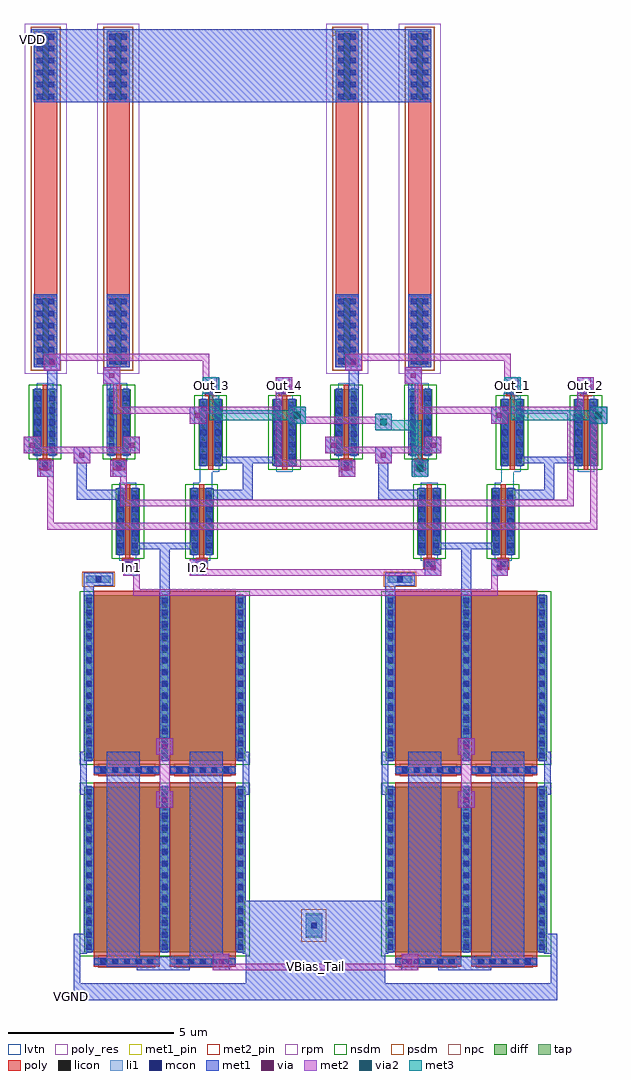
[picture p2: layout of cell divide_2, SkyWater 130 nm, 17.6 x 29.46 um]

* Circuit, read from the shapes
.subckt divide_2 In1 In2 Out_1 Out_2 Out_3 Out_4 VBias_Tail VDD VGND
XM1 Out_3 Out_1 n1 VGND sky130_fd_pr__nfet_01v8_lvt w=2 l=0.15
XM2 n2 VBias_Tail VGND VGND sky130_fd_pr__nfet_01v8 w=5 l=2 m=4
XM3 n1 Out_2 Out_4 VGND sky130_fd_pr__nfet_01v8_lvt w=2 l=0.15
XM4 n2 In1 n1 VGND sky130_fd_pr__nfet_01v8_lvt w=2 l=0.15
XM5 n3 In2 n2 VGND sky130_fd_pr__nfet_01v8_lvt w=2 l=0.15
XM6 n3 Out_3 Out_4 VGND sky130_fd_pr__nfet_01v8_lvt w=2 l=0.15
XM7 Out_3 Out_4 n3 VGND sky130_fd_pr__nfet_01v8_lvt w=2 l=0.15
XM8 Out_1 Out_4 n4 VGND sky130_fd_pr__nfet_01v8_lvt w=2 l=0.15
XM9 n5 VBias_Tail VGND VGND sky130_fd_pr__nfet_01v8 w=5 l=2 m=4
XM10 n4 Out_3 Out_2 VGND sky130_fd_pr__nfet_01v8_lvt w=2 l=0.15
XM11 n5 In2 n4 VGND sky130_fd_pr__nfet_01v8_lvt w=2 l=0.15
XM12 n6 In1 n5 VGND sky130_fd_pr__nfet_01v8_lvt w=2 l=0.15
XM13 n6 Out_1 Out_2 VGND sky130_fd_pr__nfet_01v8_lvt w=2 l=0.15
XM14 Out_1 Out_2 n6 VGND sky130_fd_pr__nfet_01v8_lvt w=2 l=0.15
XR15 VDD Out_3 VGND sky130_fd_pr__res_high_po w=0.69 l=5.88
XR16 VDD Out_4 VGND sky130_fd_pr__res_high_po w=0.69 l=5.88
XR17 VDD Out_1 VGND sky130_fd_pr__res_high_po w=0.69 l=5.88
XR18 VDD Out_2 VGND sky130_fd_pr__res_high_po w=0.69 l=5.88
.ends

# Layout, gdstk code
from math import pi, radians
import gdstk
lib = gdstk.Library(unit=1e-6, precision=1e-09)
def R(c, l, rs):  # rectangles x0, y0, x1, y1
    for r in rs: c.add(gdstk.rectangle(r[:2], r[2:], *l))
def A(c, l, x, y, w, h, nx, ny, dx, dy):  # array of equal rectangles
    R(c, l, [(x+i*dx, y+j*dy, x+i*dx+w, y+j*dy+h) for i in range(nx) for j in range(ny)])
diff = (65, 20)
tap = (65, 44)
poly_res = (66, 13)
poly = (66, 20)
licon = (66, 44)
li1 = (67, 20)
mcon = (67, 44)
met1_pin = (68, 16)
met1 = (68, 20)
via = (68, 44)
met2_pin = (69, 16)
met2 = (69, 20)
via2 = (69, 44)
met3 = (70, 20)
rpm = (86, 20)
nsdm = (93, 44)
psdm = (94, 20)
npc = (95, 20)
lvtn = (125, 44)

sky130_fd_pr__res_high_p = lib.new_cell('sky130_fd_pr__res_high_po_0p69_VZF59X')
R(sky130_fd_pr__res_high_p, poly_res, [(-0.345,-3,0.345,3)])
R(sky130_fd_pr__res_high_p, poly, [(-0.345,-5.08,0.345,5.08)])
R(sky130_fd_pr__res_high_p, licon, [(-0.095,-5,0.095,-3), (-0.095,3,0.095,5)])
R(sky130_fd_pr__res_high_p, li1, [(-0.345,-5.08,0.345,-2.92), (-0.345,2.92,0.345,5.08)])
A(sky130_fd_pr__res_high_p, mcon, -0.265, -4.985, 0.17, 0.17, 1, 6, 0, 0.36)
A(sky130_fd_pr__res_high_p, mcon, 0.095, -4.985, 0.17, 0.17, 1, 6, 0, 0.36)
A(sky130_fd_pr__res_high_p, mcon, -0.265, 3.01, 0.17, 0.17, 1, 6, 0, 0.36)
A(sky130_fd_pr__res_high_p, mcon, 0.095, 3.01, 0.17, 0.17, 1, 6, 0, 0.36)
R(sky130_fd_pr__res_high_p, met1, [(-0.295,-5.05,0.295,-2.945), (-0.295,2.945,0.295,5.05)])
R(sky130_fd_pr__res_high_p, rpm, [(-0.635,-5.28,0.635,5.28)])
R(sky130_fd_pr__res_high_p, psdm, [(-0.455,-5.19,0.455,5.19)])
R(sky130_fd_pr__res_high_p, npc, [(-0.44,-5.175,0.44,5.175)])

sky130_fd_pr__nfet_01v8_ = lib.new_cell('sky130_fd_pr__nfet_01v8_2FLCLW')
R(sky130_fd_pr__nfet_01v8_, diff, [(-2.435,-5.235,2.435,-0.235), (-2.435,0.545,2.435,5.545)])
R(sky130_fd_pr__nfet_01v8_, poly, [(-2.145,-5.675,-0.145,-0.105), (0.145,-5.675,2.145,-0.105), (-2.145,0.105,-0.145,5.675), (0.145,0.105,2.145,5.675)])
A(sky130_fd_pr__nfet_01v8_, licon, -1.91, -5.595, 0.17, 0.17, 5, 2, 0.34, 5.78)
A(sky130_fd_pr__nfet_01v8_, licon, 0.38, -5.595, 0.17, 0.17, 5, 2, 0.34, 5.78)
A(sky130_fd_pr__nfet_01v8_, licon, -2.375, -5.03, 0.17, 0.17, 3, 14, 2.29, 0.34)
A(sky130_fd_pr__nfet_01v8_, licon, -2.375, 0.75, 0.17, 0.17, 3, 14, 2.29, 0.34)
A(sky130_fd_pr__nfet_01v8_, li1, -2.375, -5.255, 0.17, 5.04, 3, 2, 2.29, 5.78)
R(sky130_fd_pr__nfet_01v8_, li1, [(-2.145,-5.595,-0.145,-5.425), (0.145,-5.595,2.145,-5.425), (-2.145,0.185,-0.145,0.355), (0.145,0.185,2.145,0.355)])
A(sky130_fd_pr__nfet_01v8_, mcon, -1.95, -5.595, 0.17, 0.17, 5, 2, 0.36, 5.78)
A(sky130_fd_pr__nfet_01v8_, mcon, 0.34, -5.595, 0.17, 0.17, 5, 2, 0.36, 5.78)
A(sky130_fd_pr__nfet_01v8_, mcon, -2.375, -5.16, 0.17, 0.17, 3, 14, 2.29, 0.36)
A(sky130_fd_pr__nfet_01v8_, mcon, -2.375, 0.62, 0.17, 0.17, 3, 14, 2.29, 0.36)
A(sky130_fd_pr__nfet_01v8_, met1, -2.405, -5.235, 0.23, 5, 3, 2, 2.29, 5.78)
R(sky130_fd_pr__nfet_01v8_, met1, [(-2.125,-5.625,-0.165,-5.395), (0.165,-5.625,2.125,-5.395), (-2.125,0.155,-0.165,0.385), (0.165,0.155,2.125,0.385)])
R(sky130_fd_pr__nfet_01v8_, nsdm, [(-2.56,-5.36,2.56,-0.11), (-2.56,0.42,2.56,5.67)])
R(sky130_fd_pr__nfet_01v8_, npc, [(-2.01,-5.695,-0.28,-5.325), (0.28,-5.695,2.01,-5.325), (-2.01,0.085,-0.28,0.455), (0.28,0.085,2.01,0.455)])

c_sky130_fd_pr__nfet_01v8_ = lib.new_cell('sky130_fd_pr__nfet_01v8_lvt_G4HLQV')
R(c_sky130_fd_pr__nfet_01v8_, diff, [(-0.365,-0.845,0.365,1.155)])
R(c_sky130_fd_pr__nfet_01v8_, poly, [(-0.165,-1.285,0.165,-0.955), (-0.075,-0.955,0.075,1.285)])
A(c_sky130_fd_pr__nfet_01v8_, licon, -0.305, -0.78, 0.17, 0.17, 1, 6, 0, 0.34)
A(c_sky130_fd_pr__nfet_01v8_, licon, 0.135, -0.78, 0.17, 0.17, 1, 6, 0, 0.34)
R(c_sky130_fd_pr__nfet_01v8_, licon, [(-0.085,-1.205,0.085,-1.035)])
R(c_sky130_fd_pr__nfet_01v8_, li1, [(-0.165,-1.205,0.165,-1.035), (-0.305,-0.865,-0.135,1.175), (0.135,-0.865,0.305,1.175)])
A(c_sky130_fd_pr__nfet_01v8_, mcon, -0.305, -0.65, 0.17, 0.17, 1, 5, 0, 0.36)
A(c_sky130_fd_pr__nfet_01v8_, mcon, 0.135, -0.65, 0.17, 0.17, 1, 5, 0, 0.36)
R(c_sky130_fd_pr__nfet_01v8_, mcon, [(-0.085,-1.205,0.085,-1.035)])
R(c_sky130_fd_pr__nfet_01v8_, met1, [(-0.145,-1.235,0.145,-1.005), (-0.335,-0.845,-0.105,1.155), (0.105,-0.845,0.335,1.155)])
R(c_sky130_fd_pr__nfet_01v8_, nsdm, [(-0.49,-0.97,0.49,1.28)])
R(c_sky130_fd_pr__nfet_01v8_, npc, [(-0.185,-1.305,0.185,-0.935)])
R(c_sky130_fd_pr__nfet_01v8_, lvtn, [(-0.255,-1.025,0.255,1.335)])

c_sky130_fd_pr__nfet_01v8__ = lib.new_cell('sky130_fd_pr__nfet_01v8_lvt_28RQMS')
R(c_sky130_fd_pr__nfet_01v8__, diff, [(-0.365,-1.155,0.365,0.845)])
R(c_sky130_fd_pr__nfet_01v8__, poly, [(-0.075,-1.285,0.075,0.955), (-0.165,0.955,0.165,1.285)])
A(c_sky130_fd_pr__nfet_01v8__, licon, -0.305, -1.09, 0.17, 0.17, 1, 6, 0, 0.34)
A(c_sky130_fd_pr__nfet_01v8__, licon, 0.135, -1.09, 0.17, 0.17, 1, 6, 0, 0.34)
R(c_sky130_fd_pr__nfet_01v8__, licon, [(-0.085,1.035,0.085,1.205)])
R(c_sky130_fd_pr__nfet_01v8__, li1, [(-0.305,-1.175,-0.135,0.865), (0.135,-1.175,0.305,0.865), (-0.165,1.035,0.165,1.205)])
A(c_sky130_fd_pr__nfet_01v8__, mcon, -0.305, -0.96, 0.17, 0.17, 1, 5, 0, 0.36)
A(c_sky130_fd_pr__nfet_01v8__, mcon, 0.135, -0.96, 0.17, 0.17, 1, 5, 0, 0.36)
R(c_sky130_fd_pr__nfet_01v8__, mcon, [(-0.085,1.035,0.085,1.205)])
R(c_sky130_fd_pr__nfet_01v8__, met1, [(-0.335,-1.155,-0.105,0.845), (0.105,-1.155,0.335,0.845), (-0.145,1.005,0.145,1.235)])
R(c_sky130_fd_pr__nfet_01v8__, nsdm, [(-0.49,-1.28,0.49,0.97)])
R(c_sky130_fd_pr__nfet_01v8__, npc, [(-0.185,0.935,0.185,1.305)])
R(c_sky130_fd_pr__nfet_01v8__, lvtn, [(-0.255,-1.335,0.255,1.025)])

cml_latch = lib.new_cell('cml_latch')
R(cml_latch, tap, [(8.88,-20.9,9.62,-20.7)])
R(cml_latch, licon, [(9.165,-20.885,9.335,-20.715)])
R(cml_latch, li1, [(8.92,-20.9,9.58,-20.7)])
R(cml_latch, mcon, [(9.165,-20.885,9.335,-20.715)])
R(cml_latch, met1_pin, [(10.4,-32.6,12,-32.2), (8.7,-27.3,8.9,-26), (12.2,-20.5,12.5,-20.2), (10.1,-20.3,10.3,-20.2), (7.2,-4.4,7.3,-4.2)])
R(cml_latch, met1, [(8.5,-33.5,14,-33), (8.5,-33,8.7,-32.1), (13.8,-33,14,-32.1), (10.4,-32.6,12,-32.5), (9.5,-32.5,13,-32.2), (9.5,-32.2,10.5,-26), (12,-32.2,13,-26), (8.5,-32.1,8.9,-32), (13.6,-32.1,14,-32), (8.5,-32,9.1,-31.5), (11.1,-32,11.4,-27.7), (13.4,-32,14,-31.5), (8.8,-31.5,9.1,-27.3), (13.4,-31.5,13.7,-27.3), (11,-27.7,11.5,-27.2), (8.7,-27.3,9.1,-27.1), (13.4,-27.3,13.8,-27.1), (11.1,-27.2,11.4,-27.1), (8.7,-27.1,8.9,-26.2), (13.6,-27.1,13.8,-26.2), (8.7,-26.2,9.1,-26), (11.1,-26.2,11.4,-26.1), (13.4,-26.2,13.8,-26), (11,-26.1,11.5,-25.6), (8.8,-26,9.1,-21), (13.4,-26,13.7,-21.3), (11.1,-25.6,11.4,-19.9), (8.8,-21,9.7,-20.6), (10,-20.7,10.5,-20.2), (12,-20.7,12.5,-20.2), (10.3,-19.9,12.2,-19.7), (9.8,-18.5,10,-18.4), (12.5,-18.5,12.7,-18.4), (8.6,-18.4,10,-18.1), (12.5,-18.4,13.9,-18.1), (8.6,-18.1,8.9,-17.3), (13.6,-18.1,13.9,-17.3), (7.4,-17.7,7.9,-17.2), (9.6,-17.7,10.1,-17.2), (8.5,-17.3,9,-16.8), (12.8,-17.3,14.7,-17.1), (7,-17,7.5,-16.5), (7.7,-17,8,-14.5), (9.5,-17,9.8,-14.9), (10,-17,10.5,-16.5), (12,-16.1,12.5,-15.6), (15,-16.1,15.5,-15.6), (14.7,-15.8,14.8,-15.6), (12.4,-15.2,12.9,-14.7), (14.6,-15.2,15.1,-14.7), (9.4,-14.9,9.9,-14.4), (7.6,-14.5,8.1,-14.4), (7.3,-14.4,8.1,-14), (9.5,-14.4,10.2,-12.2), (7.3,-14,8,-12.2), (7.3,-6.4,10.2,-4.4), (7.2,-4.4,10.2,-4.2)])
R(cml_latch, via, [(11.175,-27.525,11.325,-27.375), (11.175,-25.925,11.325,-25.775), (10.175,-20.525,10.325,-20.375), (12.175,-20.525,12.325,-20.375), (7.575,-17.525,7.725,-17.375), (9.775,-17.525,9.925,-17.375), (8.675,-17.125,8.825,-16.975), (7.175,-16.825,7.325,-16.675), (10.175,-16.825,10.325,-16.675), (12.175,-15.925,12.325,-15.775), (15.175,-15.925,15.325,-15.775), (12.575,-15.025,12.725,-14.875), (14.775,-15.025,14.925,-14.875), (9.575,-14.725,9.725,-14.575), (7.775,-14.325,7.925,-14.175)])
R(cml_latch, met2_pin, [(7.4,-17.7,7.5,-17.2), (9.6,-17.7,9.7,-17.2), (12.8,-15.2,12.9,-14.7), (15,-15.2,15.1,-14.7)])
R(cml_latch, met2, [(11,-27.7,11.5,-27.2), (11.1,-27.2,11.4,-26.1), (11,-26.1,11.5,-25.6), (10,-20.7,10.5,-20.2), (12,-20.7,12.5,-20.2), (7.4,-17.7,7.9,-17.2), (9.6,-17.7,10.1,-17.2), (8.5,-17.3,9,-17), (7,-17,10.5,-16.8), (7,-16.8,7.5,-16.5), (10,-16.8,10.5,-16.5), (12,-16.1,12.5,-15.8), (15,-16.1,15.5,-15.6), (9.7,-15.8,14.8,-15.6), (9.7,-15.6,9.9,-14.9), (14.6,-15.6,14.8,-15.2), (12.4,-15.2,12.9,-14.7), (14.6,-15.2,15.1,-14.7), (9.4,-14.9,9.9,-14.4), (12.4,-14.7,12.6,-14.2), (7.6,-14.5,8.1,-14.2), (7.6,-14.2,12.6,-14)])
R(cml_latch, via2, [(15.15,-15.95,15.35,-15.75), (12.55,-15.05,12.75,-14.85)])
R(cml_latch, met3, [(15,-16.1,15.5,-16), (12.6,-16,15.5,-15.7), (12.6,-15.7,12.9,-15.2), (15,-15.7,15.5,-15.6), (12.4,-15.2,12.9,-14.7)])
R(cml_latch, psdm, [(8.755,-21.025,9.745,-20.575)])
R(cml_latch, lvtn, [(12.62,-18.1,12.69,-17.88), (12.31,-17.88,12.69,-17.55), (12.31,-17.55,12.38,-17.33)])
cml_latch.add(gdstk.Reference(sky130_fd_pr__res_high_p, (9.845,-9.32)))
cml_latch.add(gdstk.Reference(sky130_fd_pr__nfet_01v8_, (11.25,-26.825)))
cml_latch.add(gdstk.Reference(c_sky130_fd_pr__nfet_01v8_, (12.365,-19.215)))
cml_latch.add(gdstk.Reference(c_sky130_fd_pr__nfet_01v8_, (9.865,-16.215)))
cml_latch.add(gdstk.Reference(sky130_fd_pr__res_high_p, (7.655,-9.32), rotation=pi, x_reflection=True))
cml_latch.add(gdstk.Reference(c_sky130_fd_pr__nfet_01v8_, (7.635,-16.215), rotation=pi, x_reflection=True))
cml_latch.add(gdstk.Reference(c_sky130_fd_pr__nfet_01v8_, (10.135,-19.215), rotation=pi, x_reflection=True))
cml_latch.add(gdstk.Reference(c_sky130_fd_pr__nfet_01v8__, (14.865,-16.215)))
cml_latch.add(gdstk.Reference(c_sky130_fd_pr__nfet_01v8__, (12.635,-16.215), rotation=pi, x_reflection=True))
cml_latch.add(gdstk.Label('VDD', (7.25,-4.3), layer=68, texttype=5))
cml_latch.add(gdstk.Label('CLK_P', (10.2,-20.25), layer=68, texttype=5))
cml_latch.add(gdstk.Label('CLK_N', (12.35,-20.35), layer=68, texttype=5))
cml_latch.add(gdstk.Label('VGND', (8.8,-26.65), layer=68, texttype=5))
cml_latch.add(gdstk.Label('VBias_Tail', (11.2,-32.4), layer=68, texttype=5))
cml_latch.add(gdstk.Label('D_P', (7.45,-17.45), layer=69, texttype=5))
cml_latch.add(gdstk.Label('D_N', (9.65,-17.45), layer=69, texttype=5))
cml_latch.add(gdstk.Label('Q_N', (12.85,-14.95), layer=69, texttype=5))
cml_latch.add(gdstk.Label('Q_P', (15.05,-14.95), layer=69, texttype=5))

divide_2 = lib.new_cell('divide_2')
R(divide_2, tap, [(8.5,1.88,9,2.62)])
R(divide_2, licon, [(8.665,2.165,8.835,2.335)])
R(divide_2, li1, [(8.5,1.92,9,2.58)])
R(divide_2, mcon, [(8.665,2.165,8.835,2.335)])
R(divide_2, met1_pin, [(1.4,0,1.5,0.2), (3,12.8,3.5,13.3), (5,12.8,5.5,13.3), (5.4,18.3,5.9,18.8), (7.6,18.3,8.1,18.8), (14.5,18.3,15,18.8), (16.7,18.3,17.2,18.8), (0.2,28.9,0.3,29.1)])
R(divide_2, met1, [(1.4,0,1.5,0.2), (6.8,0,10.8,0.5), (6.7,0.5,10.9,2), (5.7,0.9,6.2,1.4), (11.4,0.9,11.9,1.4), (6.5,2,11,3), (3,12.8,3.5,13.3), (5,12.8,5.5,13.3), (5.4,18.3,5.9,18.8), (7.6,18.3,8.1,18.8), (14.5,18.3,15,18.8), (16.7,18.3,17.2,18.8), (0.3,27.1,12.3,28.9), (0.2,28.9,12.3,29.1), (0.3,29.1,12.3,29.3)])
R(divide_2, via, [(5.875,1.075,6.025,1.225), (11.575,1.075,11.725,1.225)])
R(divide_2, met2_pin, [(6.2,0.9,11.4,1.1)])
R(divide_2, met2, [(5.7,0.9,11.9,1.1), (5.7,1.1,6.2,1.4), (11.4,1.1,11.9,1.4), (3.3,12.2,14.3,12.4), (3.3,12.4,3.5,12.8), (14.1,12.4,14.3,12.8), (5.5,12.8,12.1,13), (0.7,14.2,17.3,14.4), (0.7,14.4,0.9,15.8), (17.1,14.4,17.3,17.5), (2.9,14.9,16.6,15.1), (2.9,15.1,3.1,15.8), (16.4,15.1,16.6,17.7), (11.8,15.9,12.1,16.2), (7.6,16.1,9.6,16.3), (7.6,16.3,7.8,17.7), (10.6,17.2,11.1,17.4), (8.4,17.4,11.1,17.6), (10.6,17.6,11.1,17.7)])
R(divide_2, via2, [(11.85,15.95,12.05,16.15), (10.75,17.35,10.95,17.55)])
R(divide_2, met3, [(11.7,15.8,12.2,16.3), (11.7,16.3,12,17.2), (10.6,17.2,12,17.5), (8,17.4,8.5,17.9), (17.1,17.4,17.6,17.9), (10.6,17.5,11.1,17.7)])
R(divide_2, psdm, [(8.375,1.755,9.125,2.745)])
divide_2.add(gdstk.Reference(cml_latch, (2.1,33.5)))
divide_2.add(gdstk.Reference(cml_latch, (-7,33.5)))
divide_2.add(gdstk.Label('VDD', (0.25,29), layer=68, texttype=5))
divide_2.add(gdstk.Label('In1', (3.25,13.05), layer=68, texttype=5))
divide_2.add(gdstk.Label('In2', (5.25,13.05), layer=68, texttype=5))
divide_2.add(gdstk.Label('VGND', (1.45,0.1), layer=68, texttype=5))
divide_2.add(gdstk.Label('Out_1', (14.75,18.55), layer=68, texttype=5))
divide_2.add(gdstk.Label('Out_2', (16.95,18.55), layer=68, texttype=5))
divide_2.add(gdstk.Label('Out_3', (5.65,18.55), layer=68, texttype=5))
divide_2.add(gdstk.Label('Out_4', (7.85,18.55), layer=68, texttype=5))
divide_2.add(gdstk.Label('VBias_Tail', (8.8,1), layer=69, texttype=5))

lib.write_gds('divide_2.gds')
